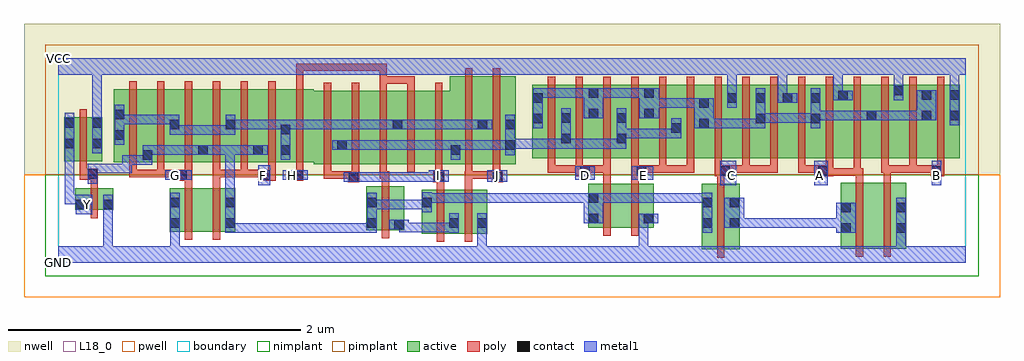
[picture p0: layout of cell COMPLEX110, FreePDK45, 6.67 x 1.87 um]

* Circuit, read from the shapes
.subckt COMPLEX110 A B C D E F G GND H I J VCC Y
M1 GND n1 Y VSUBS nfet w=0.15u l=0.05u
M2 n2 G GND VSUBS nfet w=0.3u l=0.05u
M3 n1 F n2 VSUBS nfet w=0.3u l=0.05u
M4 n3 H n1 VSUBS nfet w=0.3u l=0.05u
M5 n3 I n1 VSUBS nfet w=0.3u l=0.05u
M6 GND J n3 VSUBS nfet w=0.3u l=0.05u
M7 n4 D n1 VSUBS nfet w=0.3u l=0.05u
M8 GND E n4 VSUBS nfet w=0.3u l=0.05u
M9 n5 C n1 VSUBS nfet w=0.45u l=0.05u
M10 n6 A n5 VSUBS nfet w=0.45u l=0.05u
M11 GND B n6 VSUBS nfet w=0.45u l=0.05u
M12 VCC n1 Y n7 pfet w=0.3u l=0.05u
M13 n1 G n8 n7 pfet w=0.5u l=0.05u m=3
M14 n8 F n1 n7 pfet w=0.5u l=0.05u m=3
M15 n9 H n8 n7 pfet w=0.5u l=0.05u
M16 n10 I n9 n7 pfet w=0.5u l=0.05u
M17 n11 I n10 n7 pfet w=0.5u l=0.05u
M18 n8 H n11 n7 pfet w=0.5u l=0.05u
M19 n12 H n8 n7 pfet w=0.5u l=0.05u
M20 n10 I n12 n7 pfet w=0.5u l=0.05u
M21 n8 J n10 n7 pfet w=0.6u l=0.05u m=2
M22 n10 D n13 n7 pfet w=0.5u l=0.05u m=3
M23 n13 E n10 n7 pfet w=0.5u l=0.05u m=3
M24 VCC C n13 n7 pfet w=0.5u l=0.05u m=3
M25 n13 A VCC n7 pfet w=0.5u l=0.05u m=3
M26 VCC B n13 n7 pfet w=0.5u l=0.05u m=3
.ends

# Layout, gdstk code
import gdstk
lib = gdstk.Library(unit=1e-6, precision=1e-09)
def R(c, l, rs):  # rectangles x0, y0, x1, y1
    for r in rs: c.add(gdstk.rectangle(r[:2], r[2:], *l))
def A(c, l, x, y, w, h, nx, ny, dx, dy):  # array of equal rectangles
    R(c, l, [(x+i*dx, y+j*dy, x+i*dx+w, y+j*dy+h) for i in range(nx) for j in range(ny)])
active = (1, 0)
pwell = (2, 0)
nwell = (3, 0)
nimplant = (4, 0)
pimplant = (5, 0)
poly = (9, 0)
contact = (10, 0)
metal1 = (11, 0)
L18_0 = (18, 0)
boundary = (235, 0)

complex110 = lib.new_cell('COMPLEX110')
A(complex110, active, 3.24, 0.717, 0.265, 0.5, 4, 1, 0.19, 0)
A(complex110, active, 3.24, 0.717, 0.075, 0.483, 3, 1, 0.38, 0)
A(complex110, active, 4, 0.717, 0.26, 0.5, 3, 1, 0.76, 0)
R(complex110, active, [(4.397,0.092,4.657,0.542), (4.397,0.097,4.472,0.542), (4.582,0.097,4.657,0.542), (5.345,0.097,5.57,0.547), (5.345,0.097,5.45,0.547), (5.57,0.097,5.795,0.547), (5.72,0.097,5.795,0.547), (2.482,0.2,2.742,0.5), (2.667,0.2,2.932,0.5), (2.667,0.2,2.742,0.392), (2.857,0.2,2.932,0.5), (0.76,0.212,0.985,0.512), (0.985,0.212,1.21,0.512), (1.135,0.212,1.21,0.512), (2.105,0.225,2.365,0.525), (2.29,0.225,2.365,0.525), (0.76,0.235,0.835,0.512), (2.105,0.235,2.18,0.525), (3.62,0.242,3.845,0.542), (3.845,0.242,4.07,0.542), (3.995,0.242,4.07,0.542), (2.482,0.247,2.557,0.5), (3.62,0.247,3.695,0.542), (0.115,0.362,0.19,0.512), (0.115,0.362,0.375,0.512), (0.3,0.362,0.375,0.512), (1.745,0.675,1.975,1.175), (1.9,0.675,1.975,1.07), (1.9,0.675,2.125,1.175), (2.125,0.675,2.355,1.175), (2.28,0.675,2.505,1.175), (2.505,0.675,2.75,1.175), (2.675,0.675,2.935,1.275), (2.675,0.675,2.75,1.07), (2.86,0.675,3.125,1.275), (3.05,0.675,3.125,1.2), (0.38,0.687,0.645,1.187), (0.38,0.687,0.455,1.157), (0.57,0.687,0.83,1.187), (0.57,0.687,0.645,1.07), (0.755,0.687,1.025,1.187), (0.95,0.687,1.215,1.187), (0.95,0.687,1.025,1.07), (1.14,0.687,1.4,1.187), (1.325,0.687,1.59,1.187), (1.325,0.687,1.4,1.07), (1.515,0.687,1.745,1.187), (1.515,0.687,1.59,1.157), (0.04,0.695,0.115,0.995), (0.04,0.695,0.3,0.995), (0.225,0.695,0.3,0.995), (0.755,0.702,0.83,1.157), (2.86,0.707,2.935,1.2), (3.43,0.717,3.505,1.07), (3.81,0.717,3.885,1.07), (4.185,0.717,4.45,1.217), (4.185,0.717,4.26,1.07), (4.375,0.717,4.64,1.217), (4.375,0.717,4.45,1.2), (4.565,0.717,4.835,1.217), (4.76,0.717,4.835,1.2), (4.945,0.717,5.21,1.217), (4.945,0.717,5.02,1.165), (5.135,0.717,5.4,1.217), (5.135,0.717,5.21,1.2), (5.325,0.717,5.4,1.217), (5.325,0.717,5.595,1.217), (5.52,0.717,5.595,1.2), (5.705,0.717,5.97,1.217), (5.705,0.717,5.78,1.217), (5.895,0.717,6.16,1.217), (5.895,0.717,5.97,1.2), (6.085,0.717,6.16,1.185), (2.28,0.72,2.355,1.157), (1.14,0.807,1.215,1.157), (4.565,0.807,4.64,1.192)])
R(complex110, pwell, [(-0.235,-0.235,6.435,0.602)])
R(complex110, nwell, [(-0.235,0.602,6.435,1.635)])
R(complex110, nimplant, [(-0.09,-0.09,6.29,0.602)])
R(complex110, pimplant, [(-0.09,0.602,6.29,1.49)])
A(complex110, poly, 1.815, 0.575, 0.05, 0.095, 3, 1, 0.19, 0)
A(complex110, poly, 0.485, 0.587, 0.05, 0.095, 7, 1, 0.19, 0)
A(complex110, poly, 3.345, 0.617, 0.05, 0.095, 11, 1, 0.19, 0)
A(complex110, poly, 5.625, 0.617, 0.05, 0.095, 3, 1, 0.19, 0)
A(complex110, poly, 1.815, 0.62, 0.05, 0.61, 5, 1, 0.19, 0)
A(complex110, poly, 0.485, 0.632, 0.05, 0.61, 7, 1, 0.19, 0)
A(complex110, poly, 3.345, 0.662, 0.05, 0.61, 15, 1, 0.19, 0)
R(complex110, poly, [(4.502,0.037,4.552,0.597), (5.45,0.042,5.5,0.602), (5.64,0.042,5.69,0.602), (2.587,0.145,2.637,0.555), (2.777,0.145,2.827,0.555), (0.865,0.157,0.915,0.567), (1.055,0.157,1.105,0.567), (2.21,0.17,2.26,0.58), (3.725,0.187,3.775,0.597), (3.915,0.187,3.965,0.597), (0.22,0.307,0.27,0.567), (2.587,0.505,2.637,0.6), (2.777,0.505,2.827,0.625), (0.22,0.517,0.27,0.62), (0.865,0.517,0.915,0.612), (1.055,0.517,1.105,0.637), (2.21,0.53,2.26,0.625), (3.725,0.547,3.775,0.667), (3.915,0.547,3.965,0.642), (4.502,0.547,4.552,0.642), (1.98,0.55,2.055,0.625), (2.562,0.55,2.637,0.625), (2.962,0.55,3.037,0.625), (5.45,0.552,5.5,0.647), (5.64,0.552,5.69,0.667), (0.807,0.562,0.915,0.637), (1.377,0.562,1.485,0.637), (1.6,0.562,1.675,0.637), (0.145,0.57,0.27,0.645), (1.815,0.575,1.865,0.625), (1.815,0.575,2.03,0.625), (1.98,0.575,2.03,0.625), (1.98,0.575,2.03,0.625), (2.195,0.575,2.26,0.625), (2.575,0.575,2.625,0.67), (2.777,0.575,2.83,0.625), (2.78,0.575,2.83,0.67), (2.78,0.575,3.012,0.625), (2.962,0.575,3.012,0.625), (2.962,0.575,3.012,0.625), (2.97,0.575,3.02,0.67), (0.485,0.587,0.535,0.637), (0.485,0.587,0.725,0.637), (0.675,0.587,0.725,0.637), (0.675,0.587,0.725,0.637), (0.675,0.587,0.725,0.637), (0.675,0.587,0.857,0.637), (0.807,0.587,0.857,0.637), (0.807,0.587,0.857,0.637), (1.055,0.587,1.105,0.637), (1.055,0.587,1.295,0.637), (1.245,0.587,1.295,0.637), (1.245,0.587,1.295,0.637), (1.245,0.587,1.295,0.637), (1.245,0.587,1.427,0.637), (1.377,0.587,1.427,0.637), (1.377,0.587,1.427,0.637), (3.535,0.592,3.637,0.667), (3.915,0.592,4.022,0.667), (4.485,0.592,4.592,0.667), (5.187,0.592,5.295,0.667), (5.962,0.592,6.055,0.667), (0.145,0.595,0.195,0.69), (5.245,0.597,5.485,0.647), (5.435,0.597,5.485,0.647), (5.435,0.597,5.485,0.647), (5.435,0.597,5.485,0.712), (5.435,0.597,5.5,0.647), (3.345,0.617,3.395,0.667), (3.345,0.617,3.585,0.667), (3.535,0.617,3.585,0.667), (3.535,0.617,3.585,0.667), (3.587,0.617,3.775,0.667), (3.725,0.617,3.775,0.667), (3.725,0.617,3.775,0.667), (3.725,0.617,3.775,0.667), (3.972,0.617,4.022,0.667), (3.972,0.617,4.022,0.667), (3.972,0.617,4.155,0.667), (4.105,0.617,4.155,0.667), (4.105,0.617,4.345,0.667), (4.295,0.617,4.345,0.667), (4.295,0.617,4.345,0.667), (4.295,0.617,4.345,0.667), (4.542,0.617,4.725,0.667), (4.675,0.617,4.725,0.667), (4.675,0.617,4.725,0.667), (4.675,0.617,4.725,0.667), (4.675,0.617,4.915,0.667), (4.865,0.617,4.915,0.667), (4.865,0.617,4.915,0.667), (4.865,0.617,4.915,0.667), (5.055,0.617,5.105,0.667), (5.055,0.617,5.237,0.667), (5.187,0.617,5.237,0.667), (5.187,0.617,5.237,0.667), (5.625,0.617,5.69,0.667), (5.64,0.617,5.865,0.667), (5.815,0.617,5.865,0.667), (5.815,0.617,5.865,0.667), (5.815,0.617,5.865,0.667), (5.815,0.617,6.012,0.667), (5.962,0.617,6.012,0.667), (5.962,0.617,6.012,0.667), (2.78,0.62,2.83,1.33), (2.97,0.62,3.02,1.33), (0.145,0.64,0.195,1.05), (2.195,1.18,2.245,1.275), (2.385,1.18,2.435,1.275), (1.625,1.192,1.675,1.362), (2.195,1.225,2.435,1.275), (2.195,1.225,2.245,1.362), (2.385,1.225,2.435,1.275), (2.385,1.225,2.435,1.275), (2.385,1.225,2.435,1.275), (1.625,1.312,1.675,1.362), (1.625,1.312,1.675,1.362), (1.625,1.312,1.675,1.362), (1.625,1.312,1.807,1.362), (1.757,1.312,1.807,1.362), (1.757,1.312,2.112,1.362), (2.062,1.312,2.112,1.362), (2.062,1.312,2.112,1.362), (2.062,1.312,2.112,1.362), (2.062,1.312,2.245,1.362), (2.195,1.312,2.245,1.362), (2.195,1.312,2.245,1.362)])
R(complex110, contact, [(5.35,0.205,5.415,0.27), (5.725,0.205,5.79,0.27), (2.295,0.23,2.36,0.295), (0.765,0.24,0.83,0.305), (1.14,0.24,1.205,0.305), (2.11,0.24,2.175,0.305), (2.672,0.24,2.737,0.305), (2.862,0.24,2.927,0.305), (4.402,0.24,4.467,0.305), (4.587,0.24,4.652,0.305), (3.625,0.272,3.69,0.337), (4,0.272,4.065,0.337), (5.35,0.345,5.415,0.41), (5.725,0.345,5.79,0.41), (0.12,0.367,0.185,0.432), (0.305,0.367,0.37,0.432), (0.765,0.38,0.83,0.445), (1.14,0.38,1.205,0.445), (2.11,0.38,2.175,0.445), (4.402,0.38,4.467,0.445), (4.587,0.38,4.652,0.445), (2.487,0.382,2.552,0.447), (3.625,0.412,3.69,0.477), (1.985,0.555,2.05,0.62), (2.567,0.555,2.632,0.62), (2.967,0.555,3.032,0.62), (0.812,0.567,0.877,0.632), (1.382,0.567,1.447,0.632), (1.605,0.567,1.67,0.632), (0.2,0.575,0.265,0.64), (3.567,0.597,3.632,0.662), (3.952,0.597,4.017,0.662), (4.522,0.597,4.587,0.662), (5.192,0.597,5.257,0.662), (5.967,0.597,6.032,0.662), (0.575,0.705,0.64,0.77), (0.955,0.74,1.02,0.805), (1.33,0.74,1.395,0.805), (1.52,0.74,1.585,0.805), (2.68,0.74,2.745,0.805), (3.055,0.772,3.12,0.837), (1.905,0.775,1.97,0.84), (0.045,0.785,0.11,0.85), (0.23,0.785,0.295,0.85), (3.435,0.817,3.5,0.882), (3.815,0.817,3.88,0.882), (0.385,0.842,0.45,0.907), (1.52,0.88,1.585,0.945), (4.19,0.89,4.255,0.955), (0.76,0.912,0.825,0.977), (1.145,0.912,1.21,0.977), (2.285,0.912,2.35,0.977), (2.865,0.912,2.93,0.977), (3.055,0.912,3.12,0.977), (4.38,0.922,4.445,0.987), (0.045,0.925,0.11,0.99), (0.23,0.925,0.295,0.99), (3.245,0.955,3.31,1.02), (4.765,0.955,4.83,1.02), (5.14,0.955,5.205,1.02), (3.435,0.957,3.5,1.022), (3.815,0.957,3.88,1.022), (5.525,0.975,5.59,1.04), (5.9,0.975,5.965,1.04), (6.09,0.975,6.155,1.04), (0.385,0.982,0.45,1.047), (3.625,0.99,3.69,1.055), (4.005,0.99,4.07,1.055), (4.38,1.062,4.445,1.127), (3.245,1.095,3.31,1.16), (4.57,1.095,4.635,1.16), (4.765,1.095,4.83,1.16), (4.95,1.095,5.015,1.16), (5.14,1.095,5.205,1.16), (5.33,1.112,5.395,1.177), (5.9,1.115,5.965,1.18), (6.09,1.115,6.155,1.18), (3.625,1.13,3.69,1.195), (4.005,1.13,4.07,1.195), (5.71,1.147,5.775,1.212)])
R(complex110, metal1, [(0,0,6.2,0.115), (0.305,0.05,0.37,0.115), (0.305,0.05,0.37,0.115), (0.305,0.05,0.37,0.115), (0.305,0.05,0.37,0.115), (0.305,0.05,0.37,0.397), (0.765,0.05,0.83,0.115), (0.765,0.05,0.83,0.115), (0.765,0.05,0.83,0.27), (2.862,0.05,2.927,0.115), (2.862,0.05,2.927,0.115), (2.862,0.05,2.927,0.27), (3.965,0.05,4.03,0.115), (3.965,0.05,4.03,0.115), (3.965,0.05,4.03,0.337), (5.725,0.05,5.79,0.235), (5.725,0.17,5.79,0.445), (0.765,0.205,0.83,0.48), (1.14,0.205,1.205,0.27), (1.14,0.205,1.205,0.27), (1.14,0.205,1.205,0.48), (1.14,0.205,1.447,0.27), (1.382,0.205,1.447,0.27), (1.382,0.205,1.447,0.27), (1.382,0.205,1.447,0.27), (1.382,0.205,1.585,0.27), (1.52,0.205,1.585,0.27), (1.52,0.205,1.585,0.27), (1.52,0.205,1.585,0.27), (1.52,0.205,1.797,0.27), (1.732,0.205,1.797,0.27), (1.732,0.205,1.797,0.27), (1.732,0.205,1.797,0.27), (1.732,0.205,2.037,0.27), (1.972,0.205,2.037,0.27), (1.972,0.205,2.037,0.27), (1.972,0.205,2.037,0.27), (1.972,0.205,2.175,0.27), (2.11,0.205,2.175,0.48), (2.672,0.205,2.737,0.34), (2.862,0.205,2.927,0.34), (4.402,0.205,4.467,0.48), (5.315,0.205,5.45,0.41), (2.33,0.21,2.552,0.275), (2.33,0.21,2.395,0.295), (2.487,0.21,2.552,0.275), (2.487,0.21,2.552,0.275), (2.487,0.21,2.552,0.275), (2.487,0.21,2.737,0.275), (2.26,0.23,2.395,0.295), (2.33,0.23,2.395,0.295), (4.552,0.24,4.687,0.445), (4.622,0.24,4.687,0.305), (4.622,0.24,4.687,0.305), (4.622,0.24,4.842,0.305), (4.777,0.24,4.842,0.305), (4.777,0.24,4.842,0.305), (4.777,0.24,4.842,0.305), (4.777,0.24,5.067,0.305), (5.002,0.24,5.067,0.305), (5.002,0.24,5.067,0.305), (5.002,0.24,5.067,0.305), (5.002,0.24,5.205,0.305), (5.14,0.24,5.205,0.305), (5.14,0.24,5.205,0.305), (5.14,0.24,5.205,0.305), (5.14,0.24,5.38,0.305), (3.59,0.272,3.725,0.477), (3.965,0.272,4.1,0.337), (0.12,0.332,0.232,0.467), (0.305,0.332,0.37,0.467), (2.487,0.347,2.552,0.482), (2.11,0.367,2.222,0.432), (2.157,0.367,2.222,0.432), (2.157,0.367,2.415,0.432), (2.35,0.367,2.415,0.432), (2.35,0.367,2.415,0.432), (2.35,0.367,2.415,0.432), (2.35,0.367,2.552,0.432), (0.045,0.402,0.11,0.467), (0.045,0.402,0.11,0.467), (0.045,0.402,0.11,0.815), (0.045,0.402,0.185,0.467), (0.12,0.402,0.185,0.467), (2.487,0.412,2.552,0.477), (2.487,0.412,2.552,0.477), (2.487,0.412,2.735,0.477), (2.67,0.412,2.735,0.477), (2.67,0.412,2.735,0.477), (2.67,0.412,2.735,0.477), (2.67,0.412,2.982,0.477), (2.917,0.412,2.982,0.477), (2.917,0.412,3.035,0.477), (2.97,0.412,3.035,0.477), (2.97,0.412,3.172,0.477), (3.107,0.412,3.172,0.477), (3.107,0.412,3.172,0.477), (3.107,0.412,3.172,0.477), (3.107,0.412,3.31,0.477), (3.245,0.412,3.31,0.477), (3.245,0.412,3.517,0.477), (3.452,0.412,3.517,0.477), (3.452,0.412,3.517,0.477), (3.452,0.412,3.517,0.477), (3.452,0.412,3.655,0.477), (3.66,0.412,3.725,0.477), (3.66,0.412,3.725,0.477), (3.66,0.412,3.892,0.477), (3.827,0.412,3.892,0.477), (3.827,0.412,3.892,0.477), (3.827,0.412,3.892,0.477), (3.827,0.412,4.03,0.477), (3.965,0.412,4.03,0.477), (3.965,0.412,4.255,0.477), (4.19,0.412,4.255,0.477), (4.19,0.412,4.255,0.477), (4.19,0.412,4.255,0.477), (4.19,0.412,4.41,0.477), (4.345,0.412,4.41,0.477), (4.345,0.412,4.467,0.477), (1.14,0.415,1.205,0.805), (1.367,0.532,1.447,0.667), (4.522,0.532,4.632,0.697), (5.167,0.532,5.257,0.697), (5.967,0.532,6.032,0.697), (0.2,0.54,0.265,0.675), (1.95,0.555,2.085,0.62), (2.02,0.555,2.177,0.62), (2.112,0.555,2.177,0.62), (2.112,0.555,2.222,0.62), (2.157,0.555,2.222,0.62), (2.157,0.555,2.415,0.62), (2.35,0.555,2.415,0.62), (2.35,0.555,2.415,0.62), (2.35,0.555,2.415,0.62), (2.35,0.555,2.597,0.62), (2.532,0.555,2.597,0.62), (2.532,0.555,2.597,0.62), (2.532,0.555,2.667,0.632), (2.932,0.555,3.067,0.632), (0.732,0.567,0.912,0.632), (1.532,0.567,1.705,0.632), (3.532,0.567,3.667,0.662), (3.917,0.567,4.067,0.662), (0.2,0.61,0.265,0.675), (0.2,0.61,0.265,0.675), (0.2,0.61,0.265,0.675), (0.2,0.61,0.265,0.677), (0.2,0.612,0.502,0.677), (0.437,0.612,0.502,0.677), (0.437,0.612,0.502,0.677), (0.437,0.612,0.502,0.735), (0.437,0.67,0.64,0.735), (0.575,0.67,0.64,0.805), (1.52,0.705,1.585,0.98), (2.68,0.705,2.745,0.84), (3.055,0.737,3.12,1.012), (0.575,0.74,0.64,0.805), (0.575,0.74,0.64,0.805), (0.575,0.74,0.847,0.805), (0.782,0.74,0.847,0.805), (0.782,0.74,0.847,0.805), (0.782,0.74,0.847,0.805), (0.782,0.74,0.985,0.805), (0.92,0.74,1.055,0.805), (0.99,0.74,1.055,0.805), (0.99,0.74,1.055,0.805), (0.99,0.74,1.205,0.805), (1.14,0.74,1.205,0.805), (1.14,0.74,1.205,0.805), (1.14,0.74,1.205,0.805), (1.14,0.74,1.205,0.805), (1.14,0.74,1.205,0.805), (1.14,0.74,1.36,0.805), (1.295,0.74,1.43,0.805), (0.045,0.75,0.11,1.025), (0.23,0.75,0.295,1.025), (1.87,0.775,2.005,0.84), (1.94,0.775,2.005,0.84), (1.94,0.775,2.005,0.84), (1.94,0.775,2.177,0.84), (2.112,0.775,2.177,0.84), (2.112,0.775,2.222,0.84), (2.157,0.775,2.222,0.84), (2.157,0.775,2.36,0.84), (2.295,0.775,2.36,0.84), (2.295,0.775,2.36,0.84), (2.295,0.775,2.36,0.84), (2.295,0.775,2.552,0.84), (2.487,0.775,2.552,0.84), (2.487,0.775,2.552,0.84), (2.487,0.775,2.552,0.84), (2.487,0.775,2.745,0.84), (2.68,0.775,2.745,0.84), (2.68,0.775,2.745,0.84), (2.68,0.775,2.882,0.84), (2.817,0.775,2.882,0.84), (2.817,0.775,3.035,0.84), (2.97,0.775,3.035,0.84), (2.97,0.775,3.12,0.84), (3.055,0.782,3.31,0.847), (3.245,0.782,3.31,0.847), (3.245,0.782,3.31,0.847), (3.245,0.782,3.31,0.847), (3.245,0.782,3.5,0.847), (3.435,0.782,3.5,0.847), (3.435,0.782,3.5,0.847), (3.435,0.782,3.5,1.057), (3.435,0.782,3.725,0.847), (3.66,0.782,3.725,0.847), (3.66,0.782,3.725,0.847), (3.66,0.782,3.725,0.847), (3.66,0.782,3.88,0.847), (3.815,0.782,3.88,1.057), (0.385,0.807,0.45,1.082), (3.815,0.852,3.88,0.917), (3.815,0.852,3.88,0.917), (3.815,0.852,4.117,0.917), (4.052,0.852,4.117,0.917), (4.052,0.852,4.255,0.917), (4.19,0.852,4.255,0.92), (4.19,0.855,4.255,0.92), (4.19,0.855,4.255,0.99), (0.76,0.877,0.825,0.942), (0.76,0.877,0.825,0.942), (0.76,0.877,0.825,1.012), (0.76,0.877,0.985,0.942), (0.92,0.877,0.985,0.942), (0.92,0.877,0.985,0.942), (0.92,0.877,0.985,0.942), (0.92,0.877,1.21,0.942), (1.145,0.877,1.21,1.012), (1.52,0.912,1.585,0.977), (1.52,0.912,1.585,0.977), (1.52,0.912,1.797,0.977), (1.732,0.912,1.797,0.977), (1.732,0.912,1.797,0.977), (1.732,0.912,1.797,0.977), (1.732,0.912,2.037,0.977), (1.972,0.912,2.037,0.977), (1.972,0.912,2.037,0.977), (1.972,0.912,2.037,0.977), (1.972,0.912,2.177,0.977), (2.112,0.912,2.177,0.977), (2.112,0.912,2.222,0.977), (2.157,0.912,2.222,0.977), (2.157,0.912,2.315,0.977), (2.25,0.912,2.385,0.977), (2.32,0.912,2.385,0.977), (2.32,0.912,2.385,0.977), (2.32,0.912,2.552,0.977), (2.487,0.912,2.552,0.977), (2.487,0.912,2.552,0.977), (2.487,0.912,2.552,0.977), (2.487,0.912,2.745,0.977), (2.68,0.912,2.745,0.977), (2.68,0.912,2.745,0.977), (2.68,0.912,2.745,0.977), (2.68,0.912,2.895,0.977), (2.83,0.912,2.965,0.977), (1.145,0.915,1.21,0.98), (1.145,0.915,1.21,0.98), (1.145,0.915,1.447,0.98), (1.382,0.915,1.447,0.98), (1.382,0.915,1.447,0.98), (1.382,0.915,1.447,0.98), (1.382,0.915,1.585,0.98), (3.245,0.92,3.31,1.195), (4.765,0.92,4.83,1.195), (5.14,0.92,5.205,1.195), (4.345,0.922,4.48,1.127), (4.415,0.922,4.48,0.987), (4.415,0.922,4.48,0.987), (4.415,0.922,4.547,0.987), (4.482,0.922,4.547,0.987), (4.482,0.922,4.692,0.987), (4.627,0.922,4.692,0.987), (4.627,0.922,4.692,0.987), (4.627,0.922,4.692,0.987), (4.627,0.922,4.83,0.987), (6.09,0.94,6.155,1.215), (0.385,0.947,0.45,1.012), (0.385,0.947,0.45,1.012), (0.385,0.947,0.64,1.012), (0.575,0.947,0.64,1.012), (0.575,0.947,0.64,1.012), (0.575,0.947,0.64,1.012), (0.575,0.947,0.825,1.012), (4.765,0.957,4.83,1.022), (4.765,0.957,4.83,1.022), (4.765,0.957,5.067,1.022), (5.002,0.957,5.067,1.022), (5.002,0.957,5.067,1.022), (5.002,0.957,5.067,1.022), (5.002,0.957,5.205,1.022), (0.23,0.96,0.295,1.35), (5.14,0.975,5.342,1.04), (5.277,0.975,5.342,1.04), (5.277,0.975,5.342,1.04), (5.277,0.975,5.342,1.04), (5.277,0.975,5.487,1.04), (5.422,0.975,5.487,1.04), (5.422,0.975,5.555,1.04), (5.49,0.975,5.625,1.04), (5.56,0.975,5.625,1.04), (5.56,0.975,5.625,1.04), (5.56,0.975,5.792,1.04), (5.727,0.975,5.792,1.04), (5.727,0.975,5.792,1.04), (5.727,0.975,5.792,1.04), (5.727,0.975,5.93,1.04), (5.865,0.975,6,1.18), (3.59,0.99,3.725,1.195), (3.97,0.99,4.105,1.195), (4.57,1.06,4.635,1.195), (4.04,1.062,4.105,1.127), (4.04,1.062,4.105,1.127), (4.04,1.062,4.255,1.127), (4.19,1.062,4.255,1.127), (4.19,1.062,4.41,1.127), (4.345,1.062,4.41,1.127), (4.345,1.062,4.41,1.127), (4.915,1.095,4.98,1.16), (4.915,1.095,4.98,1.16), (4.915,1.095,5.05,1.16), (4.915,1.095,4.98,1.35), (5.295,1.112,5.36,1.177), (5.295,1.112,5.36,1.177), (5.295,1.112,5.43,1.177), (5.295,1.112,5.36,1.35), (5.71,1.112,5.775,1.247), (3.245,1.13,3.31,1.195), (3.245,1.13,3.31,1.195), (3.245,1.13,3.447,1.195), (3.382,1.13,3.447,1.195), (3.382,1.13,3.447,1.195), (3.382,1.13,3.447,1.195), (3.382,1.13,3.655,1.195), (3.66,1.13,3.725,1.195), (3.66,1.13,3.725,1.195), (3.66,1.13,3.862,1.195), (3.797,1.13,3.862,1.195), (3.797,1.13,3.862,1.195), (3.797,1.13,3.862,1.195), (3.797,1.13,4.035,1.195), (4.57,1.13,4.635,1.35), (6.09,1.15,6.155,1.215), (6.09,1.15,6.155,1.215), (6.09,1.15,6.155,1.35), (5.71,1.182,5.775,1.247), (5.71,1.182,5.775,1.247), (5.71,1.182,5.775,1.35), (0,1.285,6.2,1.4), (0.23,1.285,0.295,1.35), (0.23,1.285,0.295,1.35), (0.23,1.285,0.295,1.35), (0.23,1.285,0.295,1.35), (4.57,1.285,4.635,1.35), (4.57,1.285,4.635,1.35)])
A(complex110, L18_0, 3.967, 0.567, 0.065, 0.065, 3, 1, 0.6, 0)
R(complex110, L18_0, [(0,0,6.2,0.115), (0.305,0.05,0.37,0.115), (0.305,0.05,0.37,0.115), (0.305,0.05,0.37,0.115), (0.305,0.05,0.37,0.115), (0.305,0.05,0.37,0.397), (0.765,0.05,0.83,0.115), (0.765,0.05,0.83,0.115), (0.765,0.05,0.83,0.27), (2.862,0.05,2.927,0.115), (2.862,0.05,2.927,0.115), (2.862,0.05,2.927,0.27), (3.965,0.05,4.03,0.115), (3.965,0.05,4.03,0.115), (3.965,0.05,4.03,0.337), (5.725,0.05,5.79,0.235), (5.725,0.17,5.79,0.445), (0.765,0.205,0.83,0.48), (2.862,0.205,2.927,0.34), (3.965,0.272,4.1,0.337), (0.12,0.332,0.232,0.467), (0.305,0.332,0.37,0.467), (0.167,0.367,0.232,0.432), (0.045,0.402,0.185,0.467), (0.045,0.402,0.11,0.467), (0.045,0.402,0.11,0.467), (0.045,0.402,0.11,0.815), (0.12,0.402,0.185,0.467), (1.367,0.532,1.447,0.667), (4.522,0.532,4.632,0.697), (5.167,0.532,5.257,0.697), (5.967,0.532,6.032,0.697), (1.95,0.555,2.085,0.62), (2.02,0.555,2.177,0.62), (2.112,0.555,2.177,0.62), (2.112,0.555,2.222,0.62), (2.157,0.555,2.222,0.62), (2.157,0.555,2.415,0.62), (2.35,0.555,2.415,0.62), (2.35,0.555,2.415,0.62), (2.35,0.555,2.415,0.62), (2.35,0.555,2.597,0.62), (2.532,0.555,2.597,0.62), (2.532,0.555,2.597,0.62), (2.532,0.555,2.667,0.632), (2.932,0.555,3.067,0.632), (0.732,0.567,0.912,0.632), (0.767,0.567,0.832,0.632), (1.367,0.567,1.432,0.632), (1.532,0.567,1.705,0.632), (1.567,0.567,1.632,0.632), (2.567,0.567,2.632,0.632), (2.967,0.567,3.032,0.632), (3.532,0.567,3.667,0.662), (3.567,0.567,3.632,0.632), (3.917,0.567,4.067,0.662), (5.967,0.567,6.032,0.632), (0.045,0.75,0.11,1.025), (0.23,0.75,0.295,1.025), (6.09,0.94,6.155,1.215), (0.23,0.96,0.295,1.35), (4.57,1.06,4.635,1.195), (4.915,1.095,4.98,1.16), (4.915,1.095,4.98,1.16), (4.915,1.095,5.05,1.16), (4.915,1.095,4.98,1.35), (5.295,1.112,5.36,1.177), (5.295,1.112,5.36,1.177), (5.295,1.112,5.43,1.177), (5.295,1.112,5.36,1.35), (5.71,1.112,5.775,1.247), (4.57,1.13,4.635,1.35), (6.09,1.15,6.155,1.215), (6.09,1.15,6.155,1.215), (6.09,1.15,6.155,1.35), (5.71,1.182,5.775,1.247), (5.71,1.182,5.775,1.247), (5.71,1.182,5.775,1.35), (0,1.285,6.2,1.4), (0.23,1.285,0.295,1.35), (0.23,1.285,0.295,1.35), (0.23,1.285,0.295,1.35), (0.23,1.285,0.295,1.35), (4.57,1.285,4.635,1.35), (4.57,1.285,4.635,1.35)])
R(complex110, boundary, [(0,0,6.2,1.4)])
complex110.add(gdstk.Label('A', (5.2,0.6), layer=11, texttype=0))
complex110.add(gdstk.Label('B', (6,0.6), layer=11, texttype=0))
complex110.add(gdstk.Label('C', (4.6,0.6), layer=11, texttype=0))
complex110.add(gdstk.Label('D', (3.6,0.6), layer=11, texttype=0))
complex110.add(gdstk.Label('E', (4,0.6), layer=11, texttype=0))
complex110.add(gdstk.Label('F', (1.4,0.6), layer=11, texttype=0))
complex110.add(gdstk.Label('G', (0.8,0.6), layer=11, texttype=0))
complex110.add(gdstk.Label('H', (1.6,0.6), layer=11, texttype=0))
complex110.add(gdstk.Label('I', (2.6,0.6), layer=11, texttype=0))
complex110.add(gdstk.Label('J', (3,0.6), layer=11, texttype=0))
complex110.add(gdstk.Label('Y', (0.2,0.4), layer=11, texttype=0))
complex110.add(gdstk.Label('VCC', (0,1.4), layer=11, texttype=0))
complex110.add(gdstk.Label('GND', (0,0), layer=11, texttype=0))

lib.write_gds('COMPLEX110.gds')
